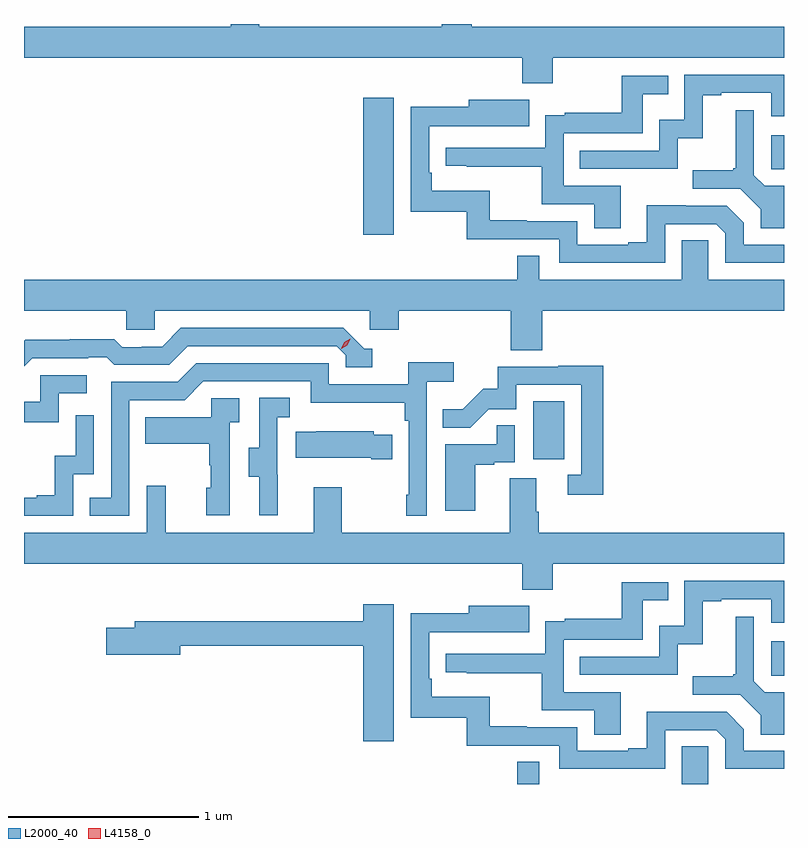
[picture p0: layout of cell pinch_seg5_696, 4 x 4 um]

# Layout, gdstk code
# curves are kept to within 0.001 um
import gdstk
lib = gdstk.Library(unit=1e-6, precision=1e-09)
def R(c, l, rs):  # rectangles x0, y0, x1, y1
    for r in rs: c.add(gdstk.rectangle(r[:2], r[2:], *l))
def P(c, l, *ps):  # polygons
    for p in ps: c.add(gdstk.Polygon(p, *l))
L2000_40 = (2000, 40)
L4158_0 = (4158, 0)

pinch_seg5_696 = lib.new_cell('pinch_seg5_696')
R(pinch_seg5_696, L2000_40, [(1118.767,847.61,1118.883,847.727), (1119.635,847.61,1119.774,847.808), (1120.104,848.181,1120.172,848.361), (1118.852,849.318,1119.016,849.625), (1117.958,850.5,1118.119,851.221), (1120.104,850.845,1120.172,851.025)])
P(pinch_seg5_696, L2000_40, [(1118.955,851.432),(1120.172,851.432),(1120.172,851.596),(1118.528,851.596),(1118.528,851.61),(1118.371,851.61),(1118.371,851.596),(1117.411,851.596),(1117.411,851.61),(1117.259,851.61),(1117.259,851.596),(1116.172,851.596),(1116.172,851.432),(1118.795,851.432),(1118.795,851.297),(1118.955,851.297)],
  [(1119.612,851.009),(1119.745,851.009),(1119.745,851.235),(1119.841,851.235),(1119.841,851.247),(1120.104,851.247),(1120.104,851.124),(1120.172,851.124),(1120.172,851.343),(1119.648,851.343),(1119.648,851.107),(1119.516,851.107),(1119.516,850.944),(1119.097,850.944),(1119.097,850.848),(1119.612,850.848)],
  [(1119.313,850.758),(1119.012,850.758),(1119.012,851.034),(1119.429,851.034),(1119.429,851.24),(1119.563,851.24),(1119.563,851.337),(1119.318,851.337),(1119.318,851.143),(1119.019,851.143),(1119.019,851.131),(1118.916,851.131),(1118.916,850.959),(1118.391,850.959),(1118.391,850.863),(1118.503,850.863),(1118.503,850.858),(1118.896,850.858),(1118.896,850.662),(1119.173,850.662),(1119.173,850.534),(1119.313,850.534)],
  [(1119.546,850.557),(1119.816,850.557),(1119.864,850.509),(1119.864,850.353),(1120.172,850.353),(1120.172,850.449),(1119.96,850.449),(1119.96,850.563),(1119.87,850.653),(1119.654,850.653),(1119.654,850.655),(1119.449,850.655),(1119.449,850.462),(1119.353,850.462),(1119.353,850.449),(1119.084,850.449),(1119.084,850.572),(1118.819,850.572),(1118.819,850.577),(1118.623,850.577),(1118.623,850.732),(1118.318,850.732),(1118.318,850.828),(1118.304,850.828),(1118.304,851.073),(1118.831,851.072),(1118.831,851.212),(1118.513,851.212),(1118.513,851.174),(1118.208,851.174),(1118.208,850.623),(1118.502,850.623),(1118.502,850.476),(1118.988,850.476),(1118.988,850.353),(1119.546,850.353)],
  [(1120.172,850.758),(1120.071,850.758),(1120.014,850.815),(1120.014,851.155),(1119.917,851.155),(1119.917,850.852),(1119.906,850.852),(1119.906,850.84),(1119.693,850.84),(1119.693,850.743),(1119.942,850.743),(1120.049,850.636),(1120.049,850.534),(1120.172,850.534)],
  [(1118.883,850.391),(1118.767,850.391),(1118.767,850.264),(1116.172,850.264),(1116.172,850.1),(1116.711,850.1),(1116.711,850.002),(1116.861,850.002),(1116.861,850.1),(1117.992,850.1),(1117.992,850.002),(1118.144,850.002),(1118.144,850.1),(1118.735,850.1),(1118.735,849.892),(1118.9,849.892),(1118.9,850.1),(1120.172,850.1),(1120.172,850.264),(1119.774,850.264),(1119.774,850.472),(1119.635,850.472),(1119.635,850.264),(1118.883,850.264)],
  [(1118.005,849.9),(1117.962,849.9),(1117.851,850.011),(1116.998,850.011),(1116.899,849.912),(1116.792,849.912),(1116.792,849.909),(1116.689,849.909),(1116.647,849.952),(1116.414,849.952),(1116.414,849.949),(1116.178,849.949),(1116.172,849.943),(1116.172,849.808),(1116.216,849.852),(1116.509,849.852),(1116.509,849.855),(1116.608,849.855),(1116.647,849.816),(1116.936,849.816),(1117.035,849.915),(1117.818,849.915),(1117.866,849.867),(1117.866,849.804),(1118.005,849.804)],
  [(1116.726,849.63),(1117.017,849.63),(1117.116,849.729),(1117.68,849.729),(1117.68,849.617),(1118.176,849.617),(1118.176,849.521),(1118.196,849.521),(1118.196,849.133),(1118.184,849.133),(1118.184,849.021),(1118.292,849.021),(1118.292,849.728),(1118.434,849.728),(1118.434,849.83),(1118.195,849.83),(1118.195,849.714),(1117.776,849.714),(1117.776,849.825),(1117.079,849.825),(1116.98,849.726),(1116.63,849.726),(1116.63,849.117),(1116.517,849.117),(1116.517,849.021),(1116.726,849.021)],
  [(1119.221,849.812),(1118.983,849.812),(1118.983,849.807),(1118.665,849.807),(1118.665,849.69),(1118.588,849.69),(1118.481,849.583),(1118.377,849.583),(1118.377,849.484),(1118.521,849.484),(1118.619,849.582),(1118.763,849.582),(1118.763,849.711),(1119.105,849.711),(1119.105,849.237),(1119.033,849.237),(1119.033,849.132),(1119.221,849.132)],
  [(1116.354,849.666),(1116.502,849.666),(1116.502,849.762),(1116.258,849.762),(1116.258,849.621),(1116.172,849.621),(1116.172,849.513),(1116.354,849.513)],
  [(1117.508,849.237),(1117.506,849.237),(1117.506,849.541),(1117.57,849.541),(1117.57,849.644),(1117.41,849.644),(1117.41,849.381),(1117.355,849.381),(1117.355,849.226),(1117.409,849.226),(1117.409,849.024),(1117.508,849.024)],
  [(1117.254,849.515),(1117.306,849.515),(1117.306,849.639),(1117.158,849.639),(1117.158,849.541),(1116.811,849.541),(1116.811,849.401),(1117.146,849.401),(1117.146,849.287),(1117.156,849.287),(1117.156,849.168),(1117.13,849.168),(1117.13,849.024),(1117.254,849.024)],
  [(1116.432,849.24),(1116.54,849.24),(1116.54,849.55),(1116.444,849.55),(1116.444,849.338),(1116.335,849.338),(1116.335,849.13),(1116.239,849.13),(1116.239,849.117),(1116.172,849.117),(1116.172,849.021),(1116.432,849.021)],
  [(1118.548,849.291),(1118.648,849.291),(1118.648,849.303),(1118.754,849.303),(1118.754,849.497),(1118.659,849.497),(1118.659,849.399),(1118.39,849.399),(1118.39,849.048),(1118.548,849.048)],
  [(1118.111,849.448),(1118.013,849.448),(1118.013,849.466),(1117.711,849.466),(1117.711,849.463),(1117.603,849.463),(1117.603,849.326),(1118,849.326),(1118,849.319),(1118.111,849.319)],
  [(1118.955,848.768),(1120.172,848.768),(1120.172,848.932),(1118.882,848.932),(1118.882,849.044),(1118.869,849.044),(1118.869,849.218),(1118.729,849.218),(1118.729,848.932),(1117.845,848.932),(1117.845,849.172),(1117.697,849.172),(1117.697,848.932),(1116.917,848.932),(1116.917,849.181),(1116.819,849.181),(1116.819,848.932),(1116.172,848.932),(1116.172,848.768),(1118.795,848.768),(1118.795,848.633),(1118.955,848.633)],
  [(1119.612,848.345),(1119.745,848.345),(1119.745,848.571),(1119.841,848.571),(1119.841,848.583),(1120.104,848.583),(1120.104,848.46),(1120.172,848.46),(1120.172,848.679),(1119.648,848.679),(1119.648,848.443),(1119.516,848.443),(1119.516,848.28),(1119.097,848.28),(1119.097,848.184),(1119.612,848.184)],
  [(1119.313,848.094),(1119.012,848.094),(1119.012,848.37),(1119.429,848.37),(1119.429,848.576),(1119.563,848.576),(1119.563,848.673),(1119.318,848.673),(1119.318,848.479),(1119.019,848.479),(1119.019,848.467),(1118.916,848.467),(1118.916,848.295),(1118.391,848.295),(1118.391,848.199),(1118.503,848.199),(1118.503,848.194),(1118.896,848.194),(1118.896,847.998),(1119.173,847.998),(1119.173,847.87),(1119.313,847.87)],
  [(1118.119,848.557),(1117.958,848.557),(1117.958,848.467),(1116.755,848.467),(1116.755,848.433),(1116.606,848.433),(1116.606,848.291),(1116.994,848.291),(1116.994,848.338),(1117.958,848.338),(1117.958,847.836),(1118.119,847.836)],
  [(1119.546,847.893),(1119.816,847.893),(1119.864,847.845),(1119.864,847.689),(1120.172,847.689),(1120.172,847.785),(1119.96,847.785),(1119.96,847.899),(1119.87,847.989),(1119.654,847.989),(1119.654,847.991),(1119.449,847.991),(1119.449,847.798),(1119.353,847.798),(1119.353,847.785),(1119.084,847.785),(1119.084,847.908),(1118.819,847.908),(1118.819,847.913),(1118.623,847.913),(1118.623,848.068),(1118.318,848.068),(1118.318,848.164),(1118.304,848.164),(1118.304,848.409),(1118.831,848.408),(1118.831,848.548),(1118.513,848.548),(1118.513,848.51),(1118.208,848.51),(1118.208,847.959),(1118.502,847.959),(1118.502,847.812),(1118.988,847.812),(1118.988,847.689),(1119.546,847.689)],
  [(1120.172,848.094),(1120.071,848.094),(1120.014,848.151),(1120.014,848.491),(1119.917,848.491),(1119.917,848.188),(1119.906,848.188),(1119.906,848.176),(1119.693,848.176),(1119.693,848.079),(1119.942,848.079),(1120.049,847.972),(1120.049,847.87),(1120.172,847.87)])
P(pinch_seg5_696, L4158_0, [(1117.842,849.901),(1117.842,849.901),(1117.858,849.934),(1117.889,849.953),(1117.89,849.953),(1117.89,849.952),(1117.873,849.92),(1117.842,849.901)])

lib.write_gds('pinch_seg5_696.gds')
